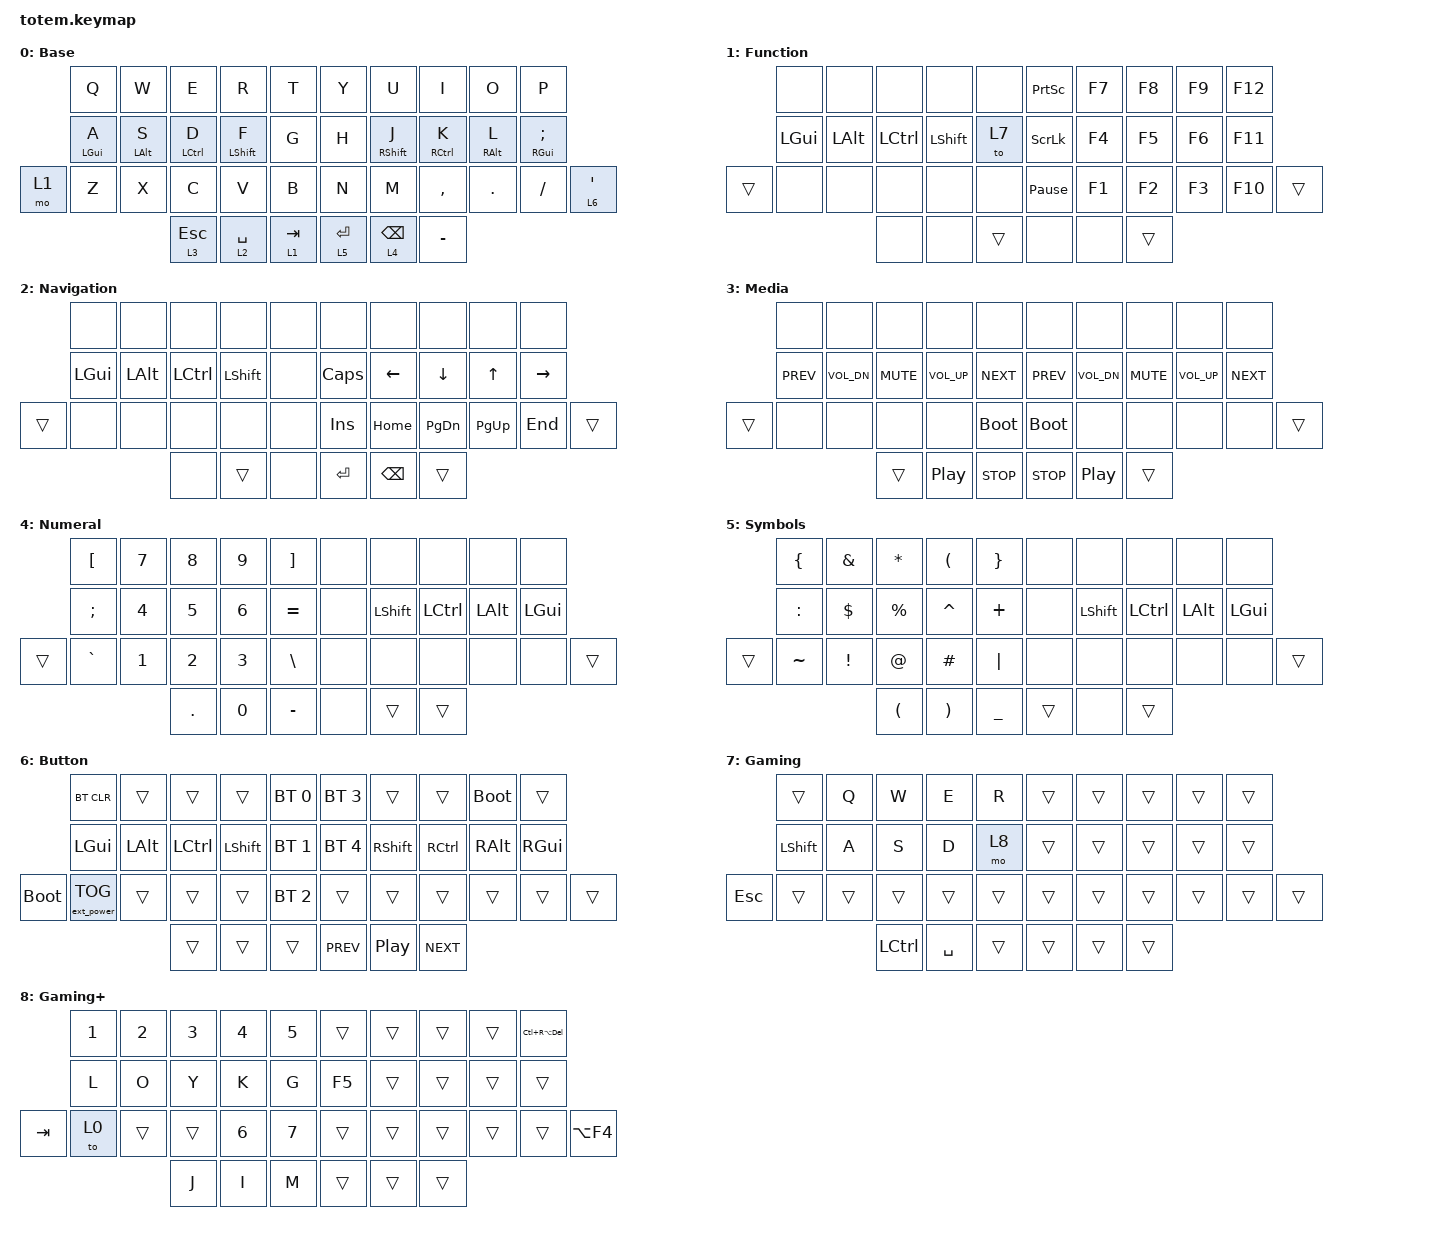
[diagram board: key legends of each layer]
//
//                                                        ▀▀▀▀▀     ▀▀▀▀▀          ▀▀█▀▀
//                                                        ▄▀▀▀▄  ▄  ▄▀▀▀▄  ▄  ▄▀▀▀▄  █  ▄▀▀▀▄
//                                                        █   █  █  █   █  █  █   █  █  █   █
//                                                         ▀▀▀   █   ▀▀▀   █   ▀▀▀   ▀   ▀▀▀
//                                                               █      ▄▄▄█▄▄▄    █   █  
//                                                               ▀      █  █  █     █▄█
//                                                             ▀▀▀▀▀    █  █  █      ▀
//                                                                      ▀  ▀  ▀
//
// ▄▄▄▄▄▄▄▄▄▄▄▄▄▄▄▄▄▄▄▄▄▄▄▄▄▄▄▄▄▄▄▄▄▄▄▄▄▄▄▄▄▄▄▄▄▄▄▄▄▄▄▄▄▄▄▄▄▄▄▄▄▄▄▄▄▄▄▄▄▄▄▄▄▄▄▄▄▄▄▄▄▄▄▄▄▄▄▄▄▄▄▄▄▄▄▄▄▄▄▄▄▄▄▄▄▄▄▄▄▄▄▄▄▄▄▄▄▄▄▄▄▄▄▄▄▄▄▄▄▄▄▄▄▄▄▄▄▄▄▄▄▄▄▄▄▄▄▄▄

#include <behaviors.dtsi>
#include <dt-bindings/zmk/bt.h>
#include <dt-bindings/zmk/ext_power.h>
#include <dt-bindings/zmk/keys.h>

#define Base        0
#define Function    1
#define Navigation  2
#define Media       3
#define Numeral     4
#define Symbols     5
#define Button      6
#define Game        7
#define Gameplus    8

&mt {
    quick-tap-ms = <100>;
    global-quick-tap;
    flavor = "tap-preferred";
    tapping-term-ms = <170>;
};

&lt {
    tapping-term-ms = <240>;
    flavor = "balanced";
    quick-tap-ms = <150>;
};

/ {
    behaviors {
        hm: homerow_mods {
            compatible = "zmk,behavior-hold-tap";
            label = "HOMEROW_MODS";
            #binding-cells = <2>;
            flavor = "tap-preferred";
            tapping-term-ms = <200>;
            quick-tap-ms = <125>;
            global-quick-tap;
            bindings = <&kp>, <&kp>;
        };
    };

    combos { compatible = "zmk,combos"; };

    keymap {
        compatible = "zmk,keymap";

        Base {
            label = "Base";
            bindings = <
       &kp Q       &kp W       &kp E        &kp R         &kp T        &kp Y      &kp U        &kp I        &kp O       &kp P
       &hm LGUI A  &hm LALT S  &hm LCTRL D  &hm LSHIFT F  &kp G        &kp H      &hm RSHFT J  &hm RCTRL K  &hm RALT L  &hm RGUI SEMICOLON
&mo 1  &kp Z       &kp X       &kp C        &kp V         &kp B        &kp N      &kp M        &kp COMMA    &kp DOT     &kp SLASH           &lt 6 APOSTROPHE
                               &lt 3 ESC    &lt 2 SPACE   &lt 1 TAB    &lt 5 RET  &lt 4 BSPC   &kp MINUS
            >;
        };

        Function {
            label = "Function";
            bindings = <
        &none     &none     &none      &none      &none     &kp PRINTSCREEN  &kp F7  &kp F8  &kp F9  &kp F12
        &kp LGUI  &kp LALT  &kp LCTRL  &kp LSHFT  &to 7     &kp SCROLLLOCK   &kp F4  &kp F5  &kp F6  &kp F11
&trans  &none     &none     &none      &none      &none     &kp PAUSE_BREAK  &kp F1  &kp F2  &kp F3  &kp F10  &trans
                            &none      &none      &trans    &none            &none   &trans
            >;
        };

        Navigation {
            label = "Navigation";
            bindings = <
        &none     &none     &none      &none      &none    &none         &none     &none      &none      &none
        &kp LGUI  &kp LALT  &kp LCTRL  &kp LSHFT  &none    &kp CAPSLOCK  &kp LEFT  &kp DOWN   &kp UP     &kp RIGHT
&trans  &none     &none     &none      &none      &none    &kp INSERT    &kp HOME  &kp PG_DN  &kp PG_UP  &kp END    &trans
                            &none      &trans     &none    &kp RET       &kp BSPC  &trans
            >;
        };

        Media {
            label = "Media";
            bindings = <
        &none       &none         &none       &none             &none          &none        &none             &none       &none         &none
        &kp C_PREV  &kp C_VOL_DN  &kp C_MUTE  &kp C_VOL_UP      &kp C_NEXT     &kp C_PREV   &kp C_VOL_DN      &kp C_MUTE  &kp C_VOL_UP  &kp C_NEXT
&trans  &none       &none         &none       &none             &bootloader    &bootloader  &none             &none       &none         &none       &trans
                                  &trans      &kp C_PLAY_PAUSE  &kp C_STOP     &kp C_STOP   &kp C_PLAY_PAUSE  &trans
            >;
        };

        Numeral {
            label = "Numeral";
            bindings = <
        &kp LBKT       &kp N7  &kp N8   &kp N9  &kp RBKT         &none  &none      &none      &none     &none
        &kp SEMICOLON  &kp N4  &kp N5   &kp N6  &kp EQUAL        &none  &kp LSHFT  &kp LCTRL  &kp LALT  &kp LGUI
&trans  &kp GRAVE      &kp N1  &kp N2   &kp N3  &kp BACKSLASH    &none  &none      &none      &none     &none     &trans
                               &kp DOT  &kp N0  &kp MINUS        &none  &trans     &trans
            >;
        };

        Symbols {
            label = "Symbols";
            bindings = <
        &kp LBRC   &kp AMPS    &kp ASTRK    &kp LPAR   &kp RBRC     &none   &none      &none      &none     &none
        &kp COLON  &kp DOLLAR  &kp PERCENT  &kp CARET  &kp PLUS     &none   &kp LSHFT  &kp LCTRL  &kp LALT  &kp LGUI
&trans  &kp TILDE  &kp EXCL    &kp AT       &kp HASH   &kp PIPE     &none   &none      &none      &none     &none     &trans
                               &kp LPAR     &kp RPAR   &kp UNDER    &trans  &none      &trans
            >;
        };

        Button {
            label = "Button";
            bindings = <
             &bt BT_CLR         &trans    &trans     &trans      &bt BT_SEL 0    &bt BT_SEL 3  &trans            &trans      &bootloader  &trans
             &kp LGUI           &kp LALT  &kp LCTRL  &kp LSHIFT  &bt BT_SEL 1    &bt BT_SEL 4  &kp RSHIFT        &kp RCTRL   &kp RALT     &kp RGUI
&bootloader  &ext_power EP_TOG  &trans    &trans     &trans      &bt BT_SEL 2    &trans        &trans            &trans      &trans       &trans    &trans
                                          &trans     &trans      &trans          &kp C_PREV    &kp C_PLAY_PAUSE  &kp C_NEXT
            >;
        };

        Gaming {
            bindings = <
            &trans          &kp Q   &kp W      &kp E      &kp R     &trans  &trans  &trans  &trans  &trans
            &kp LEFT_SHIFT  &kp A   &kp S      &kp D      &mo 8     &trans  &trans  &trans  &trans  &trans
&kp ESCAPE  &trans          &trans  &trans     &trans     &trans    &trans  &trans  &trans  &trans  &trans  &trans
                                    &kp LCTRL  &kp SPACE  &trans    &trans  &trans  &trans
            >;

            label = "Gaming";
        };

        Gaming+ {
            bindings = <
         &kp NUMBER_1  &kp NUMBER_2  &kp NUMBER_3  &kp NUMBER_4  &kp NUMBER_5    &trans  &trans  &trans  &trans  &kp LC(RA(DEL))
         &kp L         &kp O         &kp Y         &kp K         &kp G           &kp F5  &trans  &trans  &trans  &trans
&kp TAB  &to 0         &trans        &trans        &kp NUMBER_6  &kp NUMBER_7    &trans  &trans  &trans  &trans  &trans           &kp LA(F4)
                                     &kp J         &kp I         &kp M           &trans  &trans  &trans
            >;

            label = "Gaming+";
        };
    };
};
